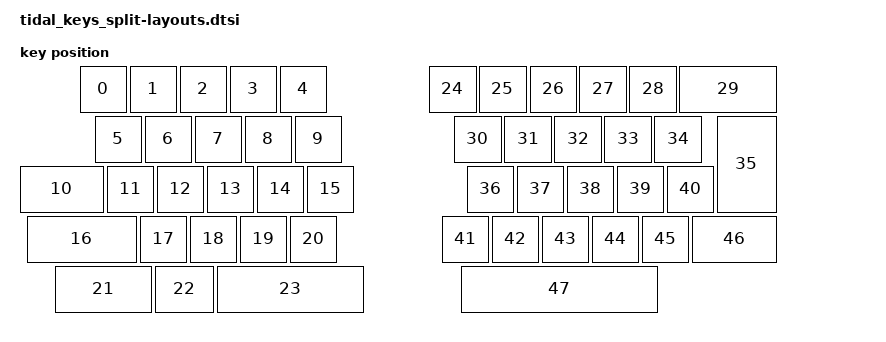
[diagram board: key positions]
#include <physical_layouts.dtsi>

/ {
    physical_layout0: physical_layout_0 {
        compatible = "zmk,physical-layout";
        display-name = "Macro Pad";

        kscan = <&kscan0>;
        transform = <&default_transform>;

        keys  //                     w   h    x    y     rot    rx    ry
            = <&key_physical_attrs 100 100  120    0       0     0     0>
            , <&key_physical_attrs 100 100  220    0       0     0     0>
            , <&key_physical_attrs 100 100  320    0       0     0     0>
            , <&key_physical_attrs 100 100  420    0       0     0     0>
            , <&key_physical_attrs 100 100  520    0       0     0     0>
            , <&key_physical_attrs 100 100  150  100       0     0     0>
            , <&key_physical_attrs 100 100  250  100       0     0     0>
            , <&key_physical_attrs 100 100  350  100       0     0     0>
            , <&key_physical_attrs 100 100  450  100       0     0     0>
            , <&key_physical_attrs 100 100  550  100       0     0     0>
            , <&key_physical_attrs 175 100    0  200       0     0     0>
            , <&key_physical_attrs 100 100  175  200       0     0     0>
            , <&key_physical_attrs 100 100  275  200       0     0     0>
            , <&key_physical_attrs 100 100  375  200       0     0     0>
            , <&key_physical_attrs 100 100  475  200       0     0     0>
            , <&key_physical_attrs 100 100  575  200       0     0     0>
            , <&key_physical_attrs 225 100   15  300       0     0     0>
            , <&key_physical_attrs 100 100  240  300       0     0     0>
            , <&key_physical_attrs 100 100  340  300       0     0     0>
            , <&key_physical_attrs 100 100  440  300       0     0     0>
            , <&key_physical_attrs 100 100  540  300       0     0     0>
            , <&key_physical_attrs 200 100   70  400       0     0     0>
            , <&key_physical_attrs 125 100  270  400       0     0     0>
            , <&key_physical_attrs 300 100  395  400       0     0     0>
            , <&key_physical_attrs 100 100  820    0       0     0     0>
            , <&key_physical_attrs 100 100  920    0       0     0     0>
            , <&key_physical_attrs 100 100 1020    0       0     0     0>
            , <&key_physical_attrs 100 100 1120    0       0     0     0>
            , <&key_physical_attrs 100 100 1220    0       0     0     0>
            , <&key_physical_attrs 200 100 1320    0       0     0     0>
            , <&key_physical_attrs 100 100  870  100       0     0     0>
            , <&key_physical_attrs 100 100  970  100       0     0     0>
            , <&key_physical_attrs 100 100 1070  100       0     0     0>
            , <&key_physical_attrs 100 100 1170  100       0     0     0>
            , <&key_physical_attrs 100 100 1270  100       0     0     0>
            , <&key_physical_attrs 125 200 1395  100       0     0     0>
            , <&key_physical_attrs 100 100  895  200       0     0     0>
            , <&key_physical_attrs 100 100  995  200       0     0     0>
            , <&key_physical_attrs 100 100 1095  200       0     0     0>
            , <&key_physical_attrs 100 100 1195  200       0     0     0>
            , <&key_physical_attrs 100 100 1295  200       0     0     0>
            , <&key_physical_attrs 100 100  845  300       0     0     0>
            , <&key_physical_attrs 100 100  945  300       0     0     0>
            , <&key_physical_attrs 100 100 1045  300       0     0     0>
            , <&key_physical_attrs 100 100 1145  300       0     0     0>
            , <&key_physical_attrs 100 100 1245  300       0     0     0>
            , <&key_physical_attrs 175 100 1345  300       0     0     0>
            , <&key_physical_attrs 400 100  883  400       0     0     0>
            ;
    };
};
